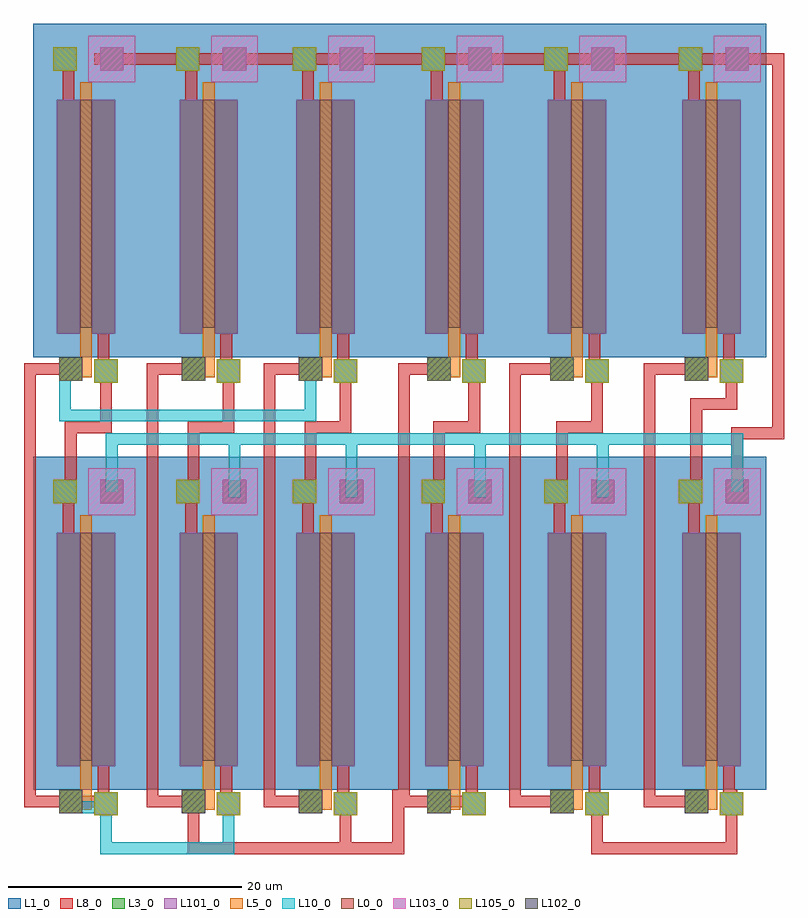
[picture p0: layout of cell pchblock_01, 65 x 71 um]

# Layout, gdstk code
import gdstk
lib = gdstk.Library(unit=1e-6, precision=1e-09)
def R(c, l, rs):  # rectangles x0, y0, x1, y1
    for r in rs: c.add(gdstk.rectangle(r[:2], r[2:], *l))
def P(c, l, *ps):  # polygons
    for p in ps: c.add(gdstk.Polygon(p, *l))
L0_0 = (0, 0)
L1_0 = (1, 0)
L3_0 = (3, 0)
L5_0 = (5, 0)
L8_0 = (8, 0)
L10_0 = (10, 0)
L101_0 = (101, 0)
L102_0 = (102, 0)
L103_0 = (103, 0)
L105_0 = (105, 0)

pch = lib.new_cell('pch')
R(pch, L0_0, [(0,0,1,19.5)])

pchblock_01 = lib.new_cell('pchblock_01')
R(pchblock_01, L1_0, [(13.3,4,76,32.5), (13.3,41,76,69.5)])
R(pchblock_01, L3_0, [(15.3,6,17.3,26), (18.3,6,20.3,26), (25.8,6,27.8,26), (28.8,6,30.8,26), (35.8,6,37.8,26), (38.8,6,40.8,26), (46.8,6,48.8,26), (49.8,6,51.8,26), (57.3,6,59.3,26), (60.3,6,62.3,26), (68.8,6,70.8,26), (71.8,6,73.8,26), (19,28.5,21,30.5), (29.5,28.5,31.5,30.5), (39.5,28.5,41.5,30.5), (50.5,28.5,52.5,30.5), (61,28.5,63,30.5), (72.5,28.5,74.5,30.5), (15.3,43,17.3,63), (18.3,43,20.3,63), (25.8,43,27.8,63), (28.8,43,30.8,63), (35.8,43,37.8,63), (38.8,43,40.8,63), (46.8,43,48.8,63), (49.8,43,51.8,63), (57.3,43,59.3,63), (60.3,43,62.3,63), (68.8,43,70.8,63), (71.8,43,73.8,63), (19,65.5,21,67.5), (29.5,65.5,31.5,67.5), (39.5,65.5,41.5,67.5), (50.5,65.5,52.5,67.5), (61,65.5,63,67.5), (72.5,65.5,74.5,67.5)])
P(pchblock_01, L5_0, [(69,2),(71,2),(71,2.3),(71.8,2.3),(71.8,27.5),(70.8,27.5),(70.8,4),(69,4)],
  [(69,39),(71,39),(71,39.3),(71.8,39.3),(71.8,64.5),(70.8,64.5),(70.8,41),(69,41)],
  [(57.5,2),(59.5,2),(59.5,2.3),(60.3,2.3),(60.3,27.5),(59.3,27.5),(59.3,4),(57.5,4)],
  [(57.5,39),(59.5,39),(59.5,39.3),(60.3,39.3),(60.3,64.5),(59.3,64.5),(59.3,41),(57.5,41)],
  [(47,2),(49,2),(49,2.3),(49.8,2.3),(49.8,27.5),(48.8,27.5),(48.8,4),(47,4)],
  [(47,39),(49,39),(49,39.3),(49.8,39.3),(49.8,64.5),(48.8,64.5),(48.8,41),(47,41)],
  [(36,2),(38,2),(38,2.3),(38.8,2.3),(38.8,27.5),(37.8,27.5),(37.8,4),(36,4)],
  [(36,39),(38,39),(38,39.3),(38.8,39.3),(38.8,64.5),(37.8,64.5),(37.8,41),(36,41)],
  [(26,2),(28,2),(28,2.3),(28.8,2.3),(28.8,27.5),(27.8,27.5),(27.8,4),(26,4)],
  [(26,39),(28,39),(28,39.3),(28.8,39.3),(28.8,64.5),(27.8,64.5),(27.8,41),(26,41)],
  [(15.5,2),(17.5,2),(17.5,2.3),(18.3,2.3),(18.3,27.5),(17.3,27.5),(17.3,4),(15.5,4)],
  [(15.5,39),(17.5,39),(17.5,39.3),(18.3,39.3),(18.3,64.5),(17.3,64.5),(17.3,41),(15.5,41)])
R(pchblock_01, L8_0, [(19,28.5,21,30.5), (29.5,28.5,31.5,30.5), (39.5,28.5,41.5,30.5), (50.5,28.5,52.5,30.5), (61,28.5,63,30.5)])
P(pchblock_01, L8_0, [(68.5,28.5),(69.3,28.5),(69.3,26),(68.8,26),(68.8,6),(70.8,6),(70.8,26),(70.3,26),(70.3,28.5),(70.5,28.5),(70.5,36.5),(73.5,36.5),(73.5,38.8),(74,38.8),(74,40.8),(73.3,40.8),(73.3,43),(73.8,43),(73.8,63),(71.8,63),(71.8,43),(72.3,43),(72.3,40.8),(72,40.8),(72,38.8),(72.5,38.8),(72.5,37.5),(69.5,37.5),(69.5,30.5),(68.5,30.5)],
  [(65.5,2.5),(69,2.5),(69,2),(71,2),(71,4),(69,4),(69,3.5),(66.5,3.5),(66.5,39.5),(69,39.5),(69,39),(71,39),(71,41),(69,41),(69,40.5),(65.5,40.5)],
  [(60.3,6),(60.8,6),(60.8,3.8),(60.5,3.8),(60.5,1.8),(61,1.8),(61,-1.5),(73.5,-1.5),(73.5,1.8),(74,1.8),(74,3.8),(73.5,3.8),(73.5,4),(73.3,4),(73.3,6),(73.8,6),(73.8,26),(71.8,26),(71.8,6),(72.3,6),(72.3,3.8),(72,3.8),(72,1.8),(72.5,1.8),(72.5,-0.5),(62,-0.5),(62,1.8),(62.5,1.8),(62.5,3.8),(61.8,3.8),(61.8,6),(62.3,6),(62.3,26),(60.3,26)],
  [(57,28.5),(57.8,28.5),(57.8,26),(57.3,26),(57.3,6),(59.3,6),(59.3,26),(58.8,26),(58.8,28.5),(59,28.5),(59,34.5),(62,34.5),(62,38.8),(62.5,38.8),(62.5,40.8),(61.8,40.8),(61.8,43),(62.3,43),(62.3,63),(60.3,63),(60.3,43),(60.8,43),(60.8,40.8),(60.5,40.8),(60.5,38.8),(61,38.8),(61,35.5),(58,35.5),(58,30.5),(57,30.5)],
  [(54,2.5),(57.5,2.5),(57.5,2),(59.5,2),(59.5,4),(57.5,4),(57.5,3.5),(55,3.5),(55,39.5),(57.5,39.5),(57.5,39),(59.5,39),(59.5,41),(57.5,41),(57.5,40.5),(54,40.5)],
  [(46.5,28.5),(47.3,28.5),(47.3,26),(46.8,26),(46.8,6),(48.8,6),(48.8,26),(48.3,26),(48.3,28.5),(48.5,28.5),(48.5,34.5),(51.5,34.5),(51.5,38.8),(52,38.8),(52,40.8),(51.3,40.8),(51.3,43),(51.8,43),(51.8,63),(49.8,63),(49.8,43),(50.3,43),(50.3,40.8),(50,40.8),(50,38.8),(50.5,38.8),(50.5,35.5),(47.5,35.5),(47.5,30.5),(46.5,30.5)],
  [(35.5,28.5),(36.3,28.5),(36.3,26),(35.8,26),(35.8,6),(37.8,6),(37.8,26),(37.3,26),(37.3,28.5),(37.5,28.5),(37.5,34.5),(40.5,34.5),(40.5,38.8),(41,38.8),(41,40.8),(40.3,40.8),(40.3,43),(40.8,43),(40.8,63),(38.8,63),(38.8,43),(39.3,43),(39.3,40.8),(39,40.8),(39,38.8),(39.5,38.8),(39.5,35.5),(36.5,35.5),(36.5,30.5),(35.5,30.5)],
  [(33,2.5),(36,2.5),(36,2),(38,2),(38,4),(36,4),(36,3.5),(34,3.5),(34,39.5),(36,39.5),(36,39),(38,39),(38,41),(36,41),(36,40.5),(33,40.5)],
  [(28.8,6),(29.3,6),(29.3,3.8),(29,3.8),(29,1.8),(31,1.8),(31,3.8),(30.3,3.8),(30.3,6),(30.8,6),(30.8,26),(28.8,26)],
  [(25.5,28.5),(26.3,28.5),(26.3,26),(25.8,26),(25.8,6),(27.8,6),(27.8,26),(27.3,26),(27.3,28.5),(27.5,28.5),(27.5,34.5),(30.5,34.5),(30.5,38.8),(31,38.8),(31,40.8),(30.3,40.8),(30.3,43),(30.8,43),(30.8,63),(28.8,63),(28.8,43),(29.3,43),(29.3,40.8),(29,40.8),(29,38.8),(29.5,38.8),(29.5,35.5),(26.5,35.5),(26.5,30.5),(25.5,30.5)],
  [(23,2.5),(26,2.5),(26,2),(26.5,2),(26.5,-1.5),(45,-1.5),(45,2.5),(47,2.5),(47,2),(49,2),(49,2.5),(50,2.5),(50,1.8),(52,1.8),(52,3.8),(51.3,3.8),(51.3,6),(51.8,6),(51.8,26),(49.8,26),(49.8,6),(50.3,6),(50.3,3.8),(50,3.8),(50,3.5),(49,3.5),(49,4),(47,4),(47,3.5),(45.5,3.5),(45.5,39.5),(47,39.5),(47,39),(49,39),(49,41),(47,41),(47,40.5),(44.5,40.5),(44.5,4),(44,4),(44,-0.5),(40.5,-0.5),(40.5,1.8),(41,1.8),(41,3.8),(40.3,3.8),(40.3,6),(40.8,6),(40.8,26),(38.8,26),(38.8,6),(39.3,6),(39.3,3.8),(39,3.8),(39,1.8),(39.5,1.8),(39.5,-0.5),(27.5,-0.5),(27.5,2),(28,2),(28,4),(26,4),(26,3.5),(24,3.5),(24,39.5),(26,39.5),(26,39),(28,39),(28,41),(26,41),(26,40.5),(23,40.5)],
  [(18.5,66),(19,66),(19,65.5),(21,65.5),(21,66),(25.5,66),(25.5,65.5),(26.3,65.5),(26.3,63),(25.8,63),(25.8,43),(27.8,43),(27.8,63),(27.3,63),(27.3,65.5),(27.5,65.5),(27.5,66),(29.5,66),(29.5,65.5),(31.5,65.5),(31.5,66),(35.5,66),(35.5,65.5),(36.3,65.5),(36.3,63),(35.8,63),(35.8,43),(37.8,43),(37.8,63),(37.3,63),(37.3,65.5),(37.5,65.5),(37.5,66),(39.5,66),(39.5,65.5),(41.5,65.5),(41.5,66),(46.5,66),(46.5,65.5),(47.3,65.5),(47.3,63),(46.8,63),(46.8,43),(48.8,43),(48.8,63),(48.3,63),(48.3,65.5),(48.5,65.5),(48.5,66),(50.5,66),(50.5,65.5),(52.5,65.5),(52.5,66),(57,66),(57,65.5),(57.8,65.5),(57.8,63),(57.3,63),(57.3,43),(59.3,43),(59.3,63),(58.8,63),(58.8,65.5),(59,65.5),(59,66),(61,66),(61,65.5),(63,65.5),(63,66),(68.5,66),(68.5,65.5),(69.3,65.5),(69.3,63),(68.8,63),(68.8,43),(70.8,43),(70.8,63),(70.3,63),(70.3,65.5),(70.5,65.5),(70.5,66),(72.5,66),(72.5,65.5),(74.5,65.5),(74.5,66),(76.5,66),(76.5,35),(73,35),(73,30.5),(72.5,30.5),(72.5,28.5),(74.5,28.5),(74.5,30.5),(74,30.5),(74,34),(77.5,34),(77.5,67),(74.5,67),(74.5,67.5),(72.5,67.5),(72.5,67),(70.5,67),(70.5,67.5),(68.5,67.5),(68.5,67),(63,67),(63,67.5),(61,67.5),(61,67),(59,67),(59,67.5),(57,67.5),(57,67),(52.5,67),(52.5,67.5),(50.5,67.5),(50.5,67),(48.5,67),(48.5,67.5),(46.5,67.5),(46.5,67),(41.5,67),(41.5,67.5),(39.5,67.5),(39.5,67),(37.5,67),(37.5,67.5),(35.5,67.5),(35.5,67),(31.5,67),(31.5,67.5),(29.5,67.5),(29.5,67),(27.5,67),(27.5,67.5),(25.5,67.5),(25.5,67),(21,67),(21,67.5),(19,67.5),(19,67),(18.5,67)],
  [(15,28.5),(15.8,28.5),(15.8,26),(15.3,26),(15.3,6),(17.3,6),(17.3,26),(16.8,26),(16.8,28.5),(17,28.5),(17,34.5),(20,34.5),(20,38.8),(20.5,38.8),(20.5,40.8),(19.8,40.8),(19.8,43),(20.3,43),(20.3,63),(18.3,63),(18.3,43),(18.8,43),(18.8,40.8),(18.5,40.8),(18.5,38.8),(19,38.8),(19,35.5),(16,35.5),(16,30.5),(15,30.5)],
  [(15,65.5),(15.8,65.5),(15.8,63),(15.3,63),(15.3,43),(17.3,43),(17.3,63),(16.8,63),(16.8,65.5),(17,65.5),(17,67.5),(15,67.5)],
  [(12.5,2.5),(15.5,2.5),(15.5,2),(17.5,2),(17.5,2.5),(18.5,2.5),(18.5,1.8),(20.5,1.8),(20.5,3.8),(19.8,3.8),(19.8,6),(20.3,6),(20.3,26),(18.3,26),(18.3,6),(18.8,6),(18.8,3.8),(18.5,3.8),(18.5,3.5),(17.5,3.5),(17.5,4),(15.5,4),(15.5,3.5),(13.5,3.5),(13.5,39.5),(15.5,39.5),(15.5,39),(17.5,39),(17.5,41),(15.5,41),(15.5,40.5),(12.5,40.5)])
R(pchblock_01, L10_0, [(39,1.8,41,3.8), (50,1.8,52,3.8), (60.5,1.8,62.5,3.8), (72,1.8,74,3.8), (26,2,28,4), (36,2,38,4), (47,2,49,4), (57.5,2,59.5,4), (69,2,71,4), (15,28.5,17,30.5), (25.5,28.5,27.5,30.5), (35.5,28.5,37.5,30.5), (46.5,28.5,48.5,30.5), (57,28.5,59,30.5), (68.5,28.5,70.5,30.5), (18.5,38.8,20.5,40.8), (29,38.8,31,40.8), (39,38.8,41,40.8), (50,38.8,52,40.8), (60.5,38.8,62.5,40.8), (72,38.8,74,40.8), (26,39,28,41), (47,39,49,41), (57.5,39,59.5,41), (69,39,71,41), (15,65.5,17,67.5), (25.5,65.5,27.5,67.5), (35.5,65.5,37.5,67.5), (46.5,65.5,48.5,67.5), (57,65.5,59,67.5), (68.5,65.5,70.5,67.5)])
P(pchblock_01, L10_0, [(19.5,29.5),(20.5,29.5),(20.5,33.5),(30,33.5),(30,29),(31,29),(31,33.5),(40,33.5),(40,29),(41,29),(41,33.5),(51,33.5),(51,29),(52,29),(52,33.5),(61.5,33.5),(61.5,29),(62.5,29),(62.5,33.5),(73,33.5),(73,29.5),(74,29.5),(74,34.5),(19.5,34.5)],
  [(15.5,2),(18.5,2),(18.5,1.8),(19,1.8),(19,-1.5),(30.5,-1.5),(30.5,1.8),(31,1.8),(31,3.8),(29,3.8),(29,1.8),(29.5,1.8),(29.5,-0.5),(20,-0.5),(20,1.8),(20.5,1.8),(20.5,3.8),(18.5,3.8),(18.5,3),(17.5,3),(17.5,4),(15.5,4)],
  [(15.5,35.5),(37.5,35.5),(37.5,39),(38,39),(38,41),(36,41),(36,39),(36.5,39),(36.5,36.5),(16.5,36.5),(16.5,39),(17.5,39),(17.5,41),(15.5,41)])
R(pchblock_01, L101_0, [(15.3,6,17.3,26), (18.3,6,20.3,26), (25.8,6,27.8,26), (28.8,6,30.8,26), (35.8,6,37.8,26), (38.8,6,40.8,26), (46.8,6,48.8,26), (49.8,6,51.8,26), (57.3,6,59.3,26), (60.3,6,62.3,26), (68.8,6,70.8,26), (71.8,6,73.8,26), (19,28.5,21,30.5), (29.5,28.5,31.5,30.5), (39.5,28.5,41.5,30.5), (50.5,28.5,52.5,30.5), (61,28.5,63,30.5), (72.5,28.5,74.5,30.5), (15.3,43,17.3,63), (18.3,43,20.3,63), (25.8,43,27.8,63), (28.8,43,30.8,63), (35.8,43,37.8,63), (38.8,43,40.8,63), (46.8,43,48.8,63), (49.8,43,51.8,63), (57.3,43,59.3,63), (60.3,43,62.3,63), (68.8,43,70.8,63), (71.8,43,73.8,63), (19,65.5,21,67.5), (29.5,65.5,31.5,67.5), (39.5,65.5,41.5,67.5), (50.5,65.5,52.5,67.5), (61,65.5,63,67.5), (72.5,65.5,74.5,67.5)])
R(pchblock_01, L102_0, [(15.5,2,17.5,4), (26,2,28,4), (36,2,38,4), (47,2,49,4), (57.5,2,59.5,4), (69,2,71,4), (15.5,39,17.5,41), (26,39,28,41), (36,39,38,41), (47,39,49,41), (57.5,39,59.5,41), (69,39,71,41)])
R(pchblock_01, L103_0, [(18,27.5,22,31.5), (28.5,27.5,32.5,31.5), (38.5,27.5,42.5,31.5), (49.5,27.5,53.5,31.5), (60,27.5,64,31.5), (71.5,27.5,75.5,31.5), (18,64.5,22,68.5), (28.5,64.5,32.5,68.5), (38.5,64.5,42.5,68.5), (49.5,64.5,53.5,68.5), (60,64.5,64,68.5), (71.5,64.5,75.5,68.5)])
R(pchblock_01, L105_0, [(18.5,1.8,20.5,3.8), (29,1.8,31,3.8), (39,1.8,41,3.8), (50,1.8,52,3.8), (60.5,1.8,62.5,3.8), (72,1.8,74,3.8), (15.5,2,17.5,4), (26,2,28,4), (36,2,38,4), (47,2,49,4), (57.5,2,59.5,4), (69,2,71,4), (15,28.5,17,30.5), (25.5,28.5,27.5,30.5), (35.5,28.5,37.5,30.5), (46.5,28.5,48.5,30.5), (57,28.5,59,30.5), (68.5,28.5,70.5,30.5), (18.5,38.8,20.5,40.8), (29,38.8,31,40.8), (39,38.8,41,40.8), (50,38.8,52,40.8), (60.5,38.8,62.5,40.8), (72,38.8,74,40.8), (15.5,39,17.5,41), (26,39,28,41), (36,39,38,41), (47,39,49,41), (57.5,39,59.5,41), (69,39,71,41), (15,65.5,17,67.5), (25.5,65.5,27.5,67.5), (35.5,65.5,37.5,67.5), (46.5,65.5,48.5,67.5), (57,65.5,59,67.5), (68.5,65.5,70.5,67.5)])
pchblock_01.add(gdstk.Reference(pch, (70.8,6.5)))
pchblock_01.add(gdstk.Reference(pch, (70.8,43.5)))
pchblock_01.add(gdstk.Reference(pch, (59.3,6.5)))
pchblock_01.add(gdstk.Reference(pch, (59.3,43.5)))
pchblock_01.add(gdstk.Reference(pch, (48.8,6.5)))
pchblock_01.add(gdstk.Reference(pch, (48.8,43.5)))
pchblock_01.add(gdstk.Reference(pch, (37.8,6.5)))
pchblock_01.add(gdstk.Reference(pch, (37.8,43.5)))
pchblock_01.add(gdstk.Reference(pch, (27.8,6.5)))
pchblock_01.add(gdstk.Reference(pch, (27.8,43.5)))
pchblock_01.add(gdstk.Reference(pch, (17.3,6.5)))
pchblock_01.add(gdstk.Reference(pch, (17.3,43.5)))

lib.write_gds('pchblock_01.gds')
